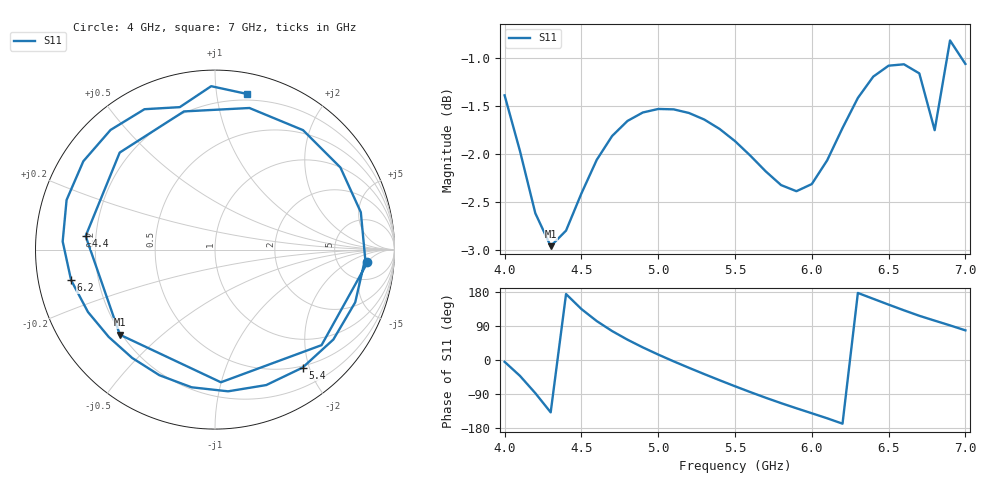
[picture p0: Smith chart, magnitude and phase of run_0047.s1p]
! Touchstone file exported from HFSS 2024.2.0
!  File:  C:/Users/wsak9/Desktop/Sim Fast/Widenad Patch/WP_AI_V1_sweep.aedt
!  Generated:  04:48:59 PM Oct 13, 2026
!  Design:  A1_model
!  Project:  WP_AI_V1_sweep
!  Setup:  Setup1
!  Solution:  Sweep
! Variables:
!  Air_gap = 1.58mm
!  Curve_Amp1 = 0.83
!  Curve_len1 = 1
!  Curve_pos = 13.205mm
!  Extra = 4.88mm
!  H_sub = 0.79mm
!  L_Patch = 22.41mm
!  L_Patch1 = 15.61mm
!  Sx = 3.45mm
!  Sy = 1.14mm
!  WS = 1.18mm
!  W_Patch = 12.71mm
!  W_Patch1 = 10.73mm
!Data is not renormalized
# GHz S MA
! Terminal data exported
! Port[1] = 1
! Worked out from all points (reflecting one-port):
!   31 points, 4 GHz to 7 GHz, reference per port
!   lowest |S11| = -3.0 dB at 4.3 GHz (marker M1), VSWR 5.93
!   phase of S11 starts at -5 deg and turns -637 deg over the sweep
!   S11 on the Smith chart (normalised r, x): 4 GHz: 10, -5; 4.4 GHz: 0.16, +0.05; 5.4 GHz: 0.47, -1.89; 6.2 GHz: 0.10, -0.10; 7 GHz: 0.15, +1.22
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4  0.8525 -4.8
4.1  0.7974 -41.9
4.2  0.7399 -87.5
4.3  0.7112 -138.2
4.4  0.7247 174.0
4.5  0.7577 134.5
4.6  0.789 102.7
4.7  0.8119 76.3
4.8  0.8267 53.6
4.9  0.8352 33.2
5  0.8387 14.4
5.1  0.8383 -3.5
5.2  0.8347 -20.6
5.4  0.8188 -53.4
5.5  0.8069 -69.3
5.6  0.7929 -84.7
5.7  0.7781 -99.6
5.9  0.7598 -127.4
6.1  0.7885 -153.8
6.2  0.8197 -168.0
6.3  0.8499 176.9
6.4  0.8719 161.5
6.5  0.8835 146.1
6.6  0.8849 131.1
6.7  0.8753 116.7
6.8  0.8176 103.9
6.9  0.9107 91.3
7  0.8853 78.2
